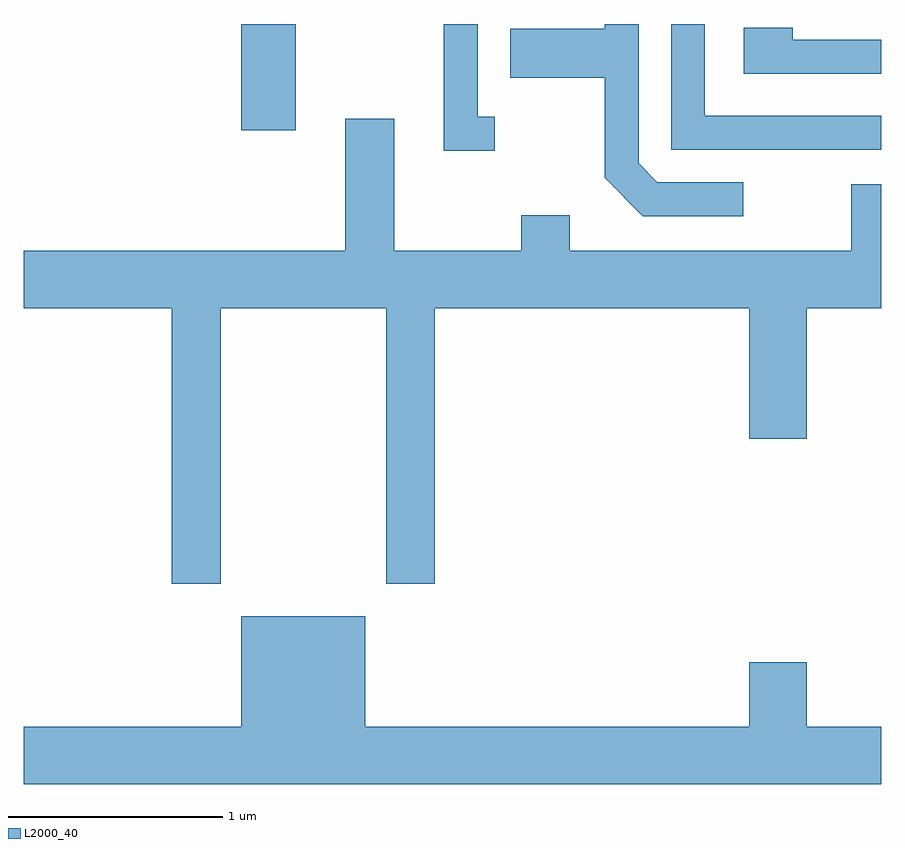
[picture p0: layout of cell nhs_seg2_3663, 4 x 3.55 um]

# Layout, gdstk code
import gdstk
lib = gdstk.Library(unit=1e-6, precision=1e-09)
def R(c, l, rs):  # rectangles x0, y0, x1, y1
    for r in rs: c.add(gdstk.rectangle(r[:2], r[2:], *l))
def P(c, l, *ps):  # polygons
    for p in ps: c.add(gdstk.Polygon(p, *l))
L2000_40 = (2000, 40)

nhs_seg2_3663 = lib.new_cell('nhs_seg2_3663')
R(nhs_seg2_3663, L2000_40, [(292.626,1111.306,292.879,1111.802)])
P(nhs_seg2_3663, L2000_40, [(293.808,1111.369),(293.729,1111.369),(293.729,1111.802),(293.571,1111.802),(293.571,1111.211),(293.808,1111.211)],
  [(295.611,1111.374),(294.789,1111.374),(294.789,1111.802),(294.631,1111.802),(294.631,1111.216),(295.611,1111.216)],
  [(294.968,1111.064),(294.567,1111.064),(294.479,1111.152),(294.479,1111.802),(294.321,1111.802),(294.321,1111.779),(293.881,1111.779),(293.881,1111.551),(294.321,1111.551),(294.321,1111.084),(294.499,1110.906),(294.968,1110.906)],
  [(295.611,1111.729),(295.199,1111.729),(295.199,1111.784),(294.971,1111.784),(294.971,1111.571),(295.611,1111.571)],
  [(292.529,1110.476),(293.301,1110.476),(293.301,1109.191),(293.529,1109.191),(293.529,1110.476),(294.996,1110.476),(294.996,1109.866),(295.264,1109.866),(295.264,1110.476),(295.611,1110.476),(295.611,1111.054),(295.471,1111.054),(295.471,1110.744),(294.159,1110.744),(294.159,1110.909),(293.931,1110.909),(293.931,1110.744),(293.339,1110.744),(293.339,1111.359),(293.111,1111.359),(293.111,1110.744),(291.611,1110.744),(291.611,1110.476),(292.301,1110.476),(292.301,1109.191),(292.529,1109.191)],
  [(295.611,1108.524),(295.264,1108.524),(295.264,1108.824),(294.996,1108.824),(294.996,1108.524),(293.204,1108.524),(293.204,1109.039),(292.626,1109.039),(292.626,1108.524),(291.611,1108.524),(291.611,1108.256),(295.611,1108.256)])

lib.write_gds('nhs_seg2_3663.gds')
